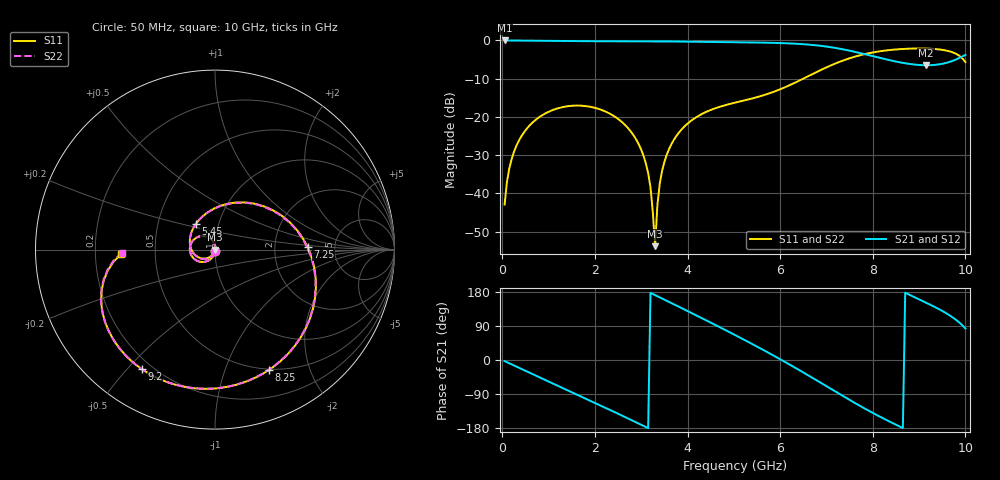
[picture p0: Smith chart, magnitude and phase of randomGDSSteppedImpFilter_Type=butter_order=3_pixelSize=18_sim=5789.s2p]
! freq	dB(S11)	phase(S11)	dB(S12)	phase(S12)
!  dB(S21)	phase(S21)	dB(S22)	phase(S22)
!S-par simulation data
#  GHz  S  DB  R 50
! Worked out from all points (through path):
!   200 points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, 50 MHz to 10 GHz, reference 50 ohm
!   highest |S21| = -0.01 dB at 50 MHz (marker M1); lowest = -6.5 dB at 9.15 GHz (marker M2)
!   group delay of S21, straight-line fit = 176 ps
!   lowest |S11| = -53.8 dB at 3.3 GHz (marker M3), VSWR 1.00, Z = 49.8 - j0.0525 ohm
!   |S11| at or under -10 dB: start of sweep to 6.498 GHz
!   |S22| runs from -53.1 to -2.1 dB; largest |S21 - S12| = 0
!   S11 on the Smith chart (normalised r, x): 50 MHz: 1.00, -0.01; 5.45 GHz: 0.78, +0.23; 7.25 GHz: 3.12, +0.12; 8.25 GHz: 0.49, -1.43; 9.2 GHz: 0.16, -0.55; 10 GHz: 0.31, -0.02
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0.05  -42.95 -90.5  -0.01 -2.9  -0.01 -2.9  -42.95 -90.5
0.2  -31.12 -101.1  -0.02 -11.5  -0.02 -11.5  -31.12 -101.1
0.5  -23.52 -118.9  -0.06 -28.5  -0.06 -28.5  -23.52 -119.0
1.15  -17.94 -155.8  -0.15 -65.2  -0.15 -65.2  -17.94 -156.1
1.75  -17.11 170.4  -0.20 -99.0  -0.20 -99.0  -17.11 169.9
2.95  -27.25 102.5  -0.21 -168.0  -0.21 -168.0  -27.25 99.2
3.2  -38.42 91.9  -0.23 177.2  -0.23 177.2  -38.38 79.4
3.3  -53.81 -165.0  -0.23 171.2  -0.23 171.2  -53.14 -31.0
3.4  -37.45 -110.6  -0.24 165.3  -0.24 165.3  -37.45 -99.1
3.6  -28.44 -119.2  -0.26 153.3  -0.26 153.3  -28.44 -115.1
3.9  -22.91 -136.2  -0.31 135.3  -0.31 135.3  -22.92 -134.2
4.5  -18.19 -172.3  -0.40 98.7  -0.40 98.7  -18.20 -171.4
5.05  -16.20 153.4  -0.48 64.4  -0.48 64.4  -16.21 153.7
5.45  -15.01 127.6  -0.54 38.7  -0.54 38.7  -15.01 127.5
6.1  -12.27 83.9  -0.73 -4.8  -0.73 -4.8  -12.27 83.2
6.7  -8.78 41.5  -1.18 -47.3  -1.18 -47.3  -8.79 40.7
7.25  -5.75 1.6  -2.08 -87.5  -2.08 -87.5  -5.75 1.0
8.25  -2.67 -66.0  -4.85 -155.6  -4.85 -155.6  -2.67 -66.5
8.35  -2.53 -72.1  -5.13 -161.7  -5.13 -161.7  -2.53 -72.6
9.15  -2.13 -118.5  -6.49 151.4  -6.49 151.4  -2.13 -118.9
9.2  -2.15 -121.4  -6.49 148.5  -6.49 148.5  -2.15 -121.8
10  -5.65 -177.4  -3.79 83.2  -3.79 83.2  -5.67 -178.1
